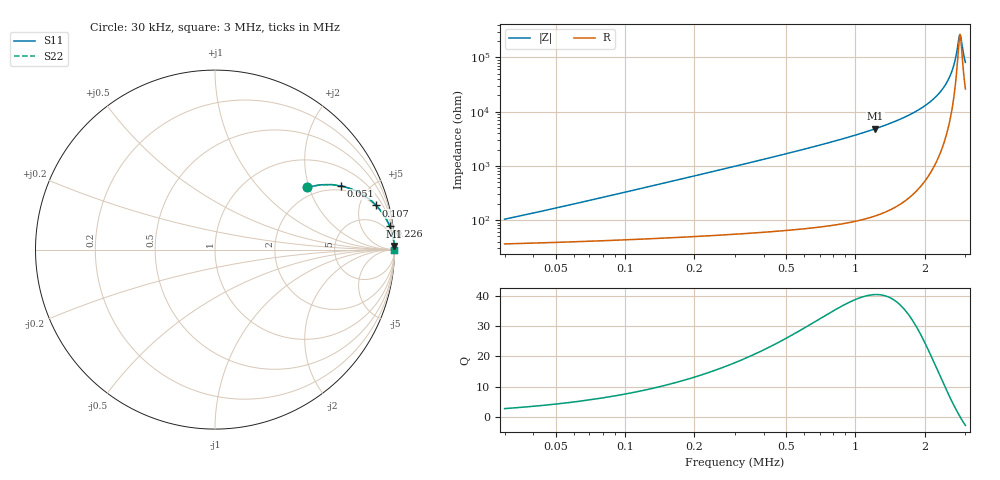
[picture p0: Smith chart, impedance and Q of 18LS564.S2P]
! Coilcraft 1812LS-564 Chip Inductor
! 8 August 2002
# MHZ S MA R 50
!Freq  MagS11  AngS11  MagS21  AngS21  MagS12  AngS12  MagS22  AngS22
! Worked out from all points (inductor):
!   426 points, 30 kHz to 3 MHz, reference 50 ohm
!   read as one part in series: L = 515 uH near 44 kHz
!   highest Q = 40.5 at 1.22 MHz (marker M1), where L = 631 uH
!   self-resonance near 2.837 MHz
!   S11 on the Smith chart (normalised r, x): 30 kHz: 1.73, +1.94; 51 kHz: 1.78, +3.30; 107 kHz: 1.87, +6.93; 226 kHz: 2, +15; 3 MHz: open
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0.03  0.6194 34.0  0.5977 -35.5  0.5977 -35.5  0.6194 34.0
0.051  0.7863 26.8  0.4637 -49.9  0.4637 -49.9  0.7863 26.8
0.072  0.869 21.2  0.3672 -58.9  0.3672 -58.9  0.869 21.2
0.107  0.9311 15.3  0.2665 -67.5  0.2665 -67.5  0.9311 15.3
0.163  0.9672 10.4  0.182 -74.4  0.182 -74.4  0.9672 10.4
0.226  0.9819 7.6  0.1331 -78.4  0.1331 -78.4  0.9819 7.6
0.359  0.9924 4.8  0.08397 -82.4  0.08397 -82.4  0.9924 4.8
0.527  0.9963 3.2  0.05638 -84.6  0.05638 -84.6  0.9963 3.2
1.024  0.999 1.5  0.02623 -87.0  0.02623 -87.0  0.999 1.5
1.22  0.9993 1.2  0.02064 -87.4  0.02064 -87.4  0.9993 1.2
1.521  0.9995 0.8  0.01449 -87.7  0.01449 -87.7  0.9995 0.8
2.011  0.9997 0.4  0.007676 -87.2  0.007676 -87.2  0.9997 0.4
2.298  0.9997 0.3  0.004666 -85.8  0.004666 -85.8  0.9997 0.3
2.508  0.9997 0.2  0.002748 -82.8  0.002748 -82.8  0.9997 0.2
2.606  0.9997 0.1  0.001922 -79.5  0.001922 -79.5  0.9997 0.1
2.683  0.9996 0.1  0.001306 -74.2  0.001306 -74.2  0.9996 0.1
2.746  0.9996 0.0  0.0008348 -64.2  0.0008348 -64.2  0.9996 0.0
2.816  0.9996 0.0  0.0004252 -28.8  0.0004252 -28.8  0.9996 0.0
2.837  0.9996 0.0  0.000378 -6.7  0.000378 -6.7  0.9996 0.0
2.865  0.9996 -0.0  0.0004157 24.0  0.0004157 24.0  0.9996 -0.0
2.942  0.9996 -0.0  0.0008419 62.2  0.0008419 62.2  0.9996 -0.0
3  0.9996 -0.1  0.001236 71.0  0.001236 71.0  0.9996 -0.1
